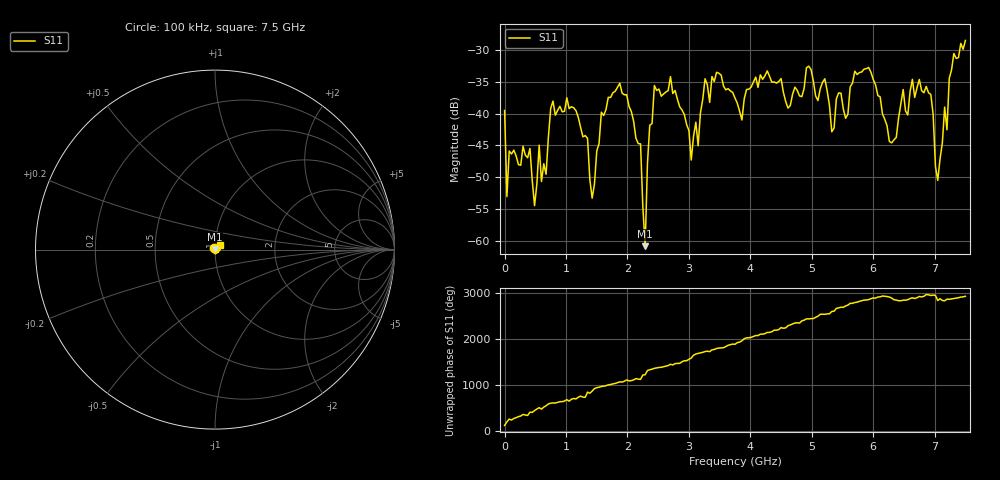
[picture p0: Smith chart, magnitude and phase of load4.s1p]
# Hz S RI R 50.000000
! FREQ  re:S1  1  im:S1  1
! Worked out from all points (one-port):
!   201 points, 100 kHz to 7.5 GHz, reference 50 ohm
!   lowest |S11| = -60.8 dB at 2.288 GHz (marker M1), VSWR 1.00, Z = 49.9 + j0.0556 ohm
!   |S11| at or under -10 dB: start of sweep to end of sweep
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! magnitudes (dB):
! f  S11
! 100 kHz  -39.5
! 37.6 MHz  -53.0
! 412.6 MHz  -45.5
! 487.6 MHz  -54.5
! 562.6 MHz  -45.0
! 937.6 MHz  -39.7
! 1.35 GHz  -43.9
! 1.425 GHz  -53.3
! 1.575 GHz  -39.8
! 1.875 GHz  -35.2
! 2.213 GHz  -44.8
! 2.288 GHz  -60.8
! 2.438 GHz  -35.6
! 2.85 GHz  -38.9
! 3.038 GHz  -47.3
! 3.263 GHz  -34.5
! 3.75 GHz  -37.6
! 4.688 GHz  -37.0
! 5.213 GHz  -34.5
! 5.325 GHz  -42.9
! 5.625 GHz  -35.8
! 5.925 GHz  -32.8
! 6.3 GHz  -44.6
! 6.6 GHz  -36.5
! 6.938 GHz  -37.0
! 7.05 GHz  -50.5
! 7.313 GHz  -30.6
! 7.5 GHz  -28.5
